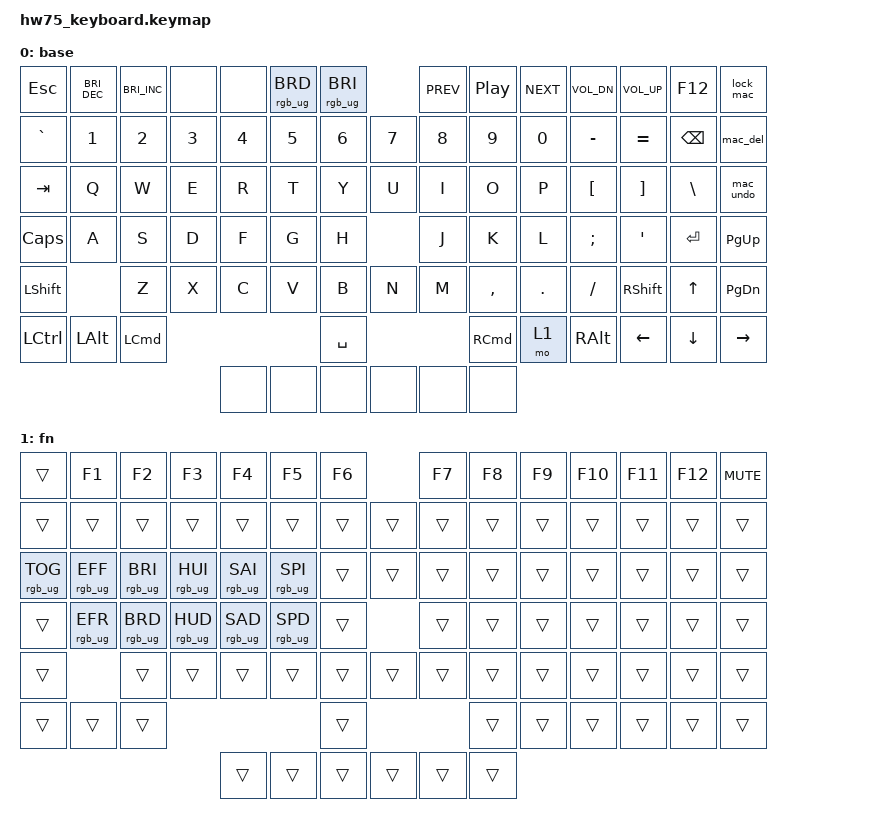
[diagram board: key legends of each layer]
/*
 * Copyright (c) 2022 The ZMK Contributors
 * SPDX-License-Identifier: MIT
 */

#include <behaviors.dtsi>
#include <dt-bindings/zmk/keys.h>
#include <dt-bindings/zmk/rgb.h>

#define BASE 0
#define FN 1

/ {
    macros {
		lock_mac: lock_mac {
			label = "lock_mac";
			compatible = "zmk,behavior-macro";
			#binding-cells = <0>;
			bindings =
				<&macro_press   &kp LCTRL>,
				<&macro_press   &kp LCMD>,
				<&macro_tap     &kp Q>,
				<&macro_release &kp LCMD>,
				<&macro_release &kp LCTRL>;
		};
        mac_del: mac_del {
			label = "mac_del";
			compatible = "zmk,behavior-macro";
			#binding-cells = <0>;
			bindings =
				<&macro_press   &kp LCMD>,
				<&macro_tap     &kp BSPC>,
				<&macro_release &kp LCMD>;
		};
        mac_undo: mac_undo {
			label = "mac_undo";
			compatible = "zmk,behavior-macro";
			#binding-cells = <0>;
			bindings =
				<&macro_press   &kp LCMD>,
				<&macro_tap     &kp Z>,
				<&macro_release &kp LCMD>;
		};
	};



    keymap {
        compatible = "zmk,keymap";

        base {
            bindings = <
   &kp ESC            &kp C_BRI_DEC  &kp C_BRI_INC   &none   &none  &rgb_ug RGB_BRD  &rgb_ug RGB_BRI  &kp C_PREV   &kp C_PP  &kp C_NEXT  &kp C_VOL_DN  &kp C_VOL_UP   &kp F12  &lock_mac
 &kp GRAVE    &kp N1         &kp N2         &kp N3  &kp N4  &kp N5           &kp N6           &kp N7      &kp N8     &kp N9      &kp N0     &kp MINUS     &kp EQUAL  &kp BSPC   &mac_del
   &kp TAB     &kp Q          &kp W          &kp E   &kp R   &kp T            &kp Y            &kp U       &kp I      &kp O       &kp P      &kp LBKT      &kp RBKT  &kp BSLH  &mac_undo
  &kp CLCK     &kp A          &kp S          &kp D   &kp F   &kp G            &kp H            &kp J       &kp K      &kp L    &kp SEMI       &kp SQT                 &kp RET  &kp PG_UP
 &kp LSHFT                    &kp Z          &kp X   &kp C   &kp V            &kp B            &kp N       &kp M  &kp COMMA     &kp DOT      &kp FSLH     &kp RSHFT    &kp UP    &kp PG_DN
 &kp LCTRL  &kp LALT       &kp LCMD                                       &kp SPACE                                &kp RCMD       &mo 1      &kp RALT      &kp LEFT  &kp DOWN  &kp RIGHT
                                                     &none   &none            &none            &none       &none      &none
            >;
        };

        fn {
            bindings = <
          &trans                            &kp F1           &kp F2           &kp F3           &kp F4  &kp F5  &kp F6  &kp F7  &kp F8  &kp F9  &kp F10  &kp F11  &kp F12  &kp C_MUTE
          &trans           &trans           &trans           &trans           &trans           &trans  &trans  &trans  &trans  &trans  &trans   &trans   &trans   &trans      &trans
 &rgb_ug RGB_TOG  &rgb_ug RGB_EFF  &rgb_ug RGB_BRI  &rgb_ug RGB_HUI  &rgb_ug RGB_SAI  &rgb_ug RGB_SPI  &trans  &trans  &trans  &trans  &trans   &trans   &trans   &trans      &trans
          &trans  &rgb_ug RGB_EFR  &rgb_ug RGB_BRD  &rgb_ug RGB_HUD  &rgb_ug RGB_SAD  &rgb_ug RGB_SPD  &trans  &trans  &trans  &trans  &trans   &trans            &trans      &trans
          &trans                            &trans           &trans           &trans           &trans  &trans  &trans  &trans  &trans  &trans   &trans   &trans   &trans      &trans
          &trans           &trans           &trans                                                     &trans                  &trans  &trans   &trans   &trans   &trans      &trans
                                                                              &trans           &trans  &trans  &trans  &trans  &trans
            >;
        };
    };
};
